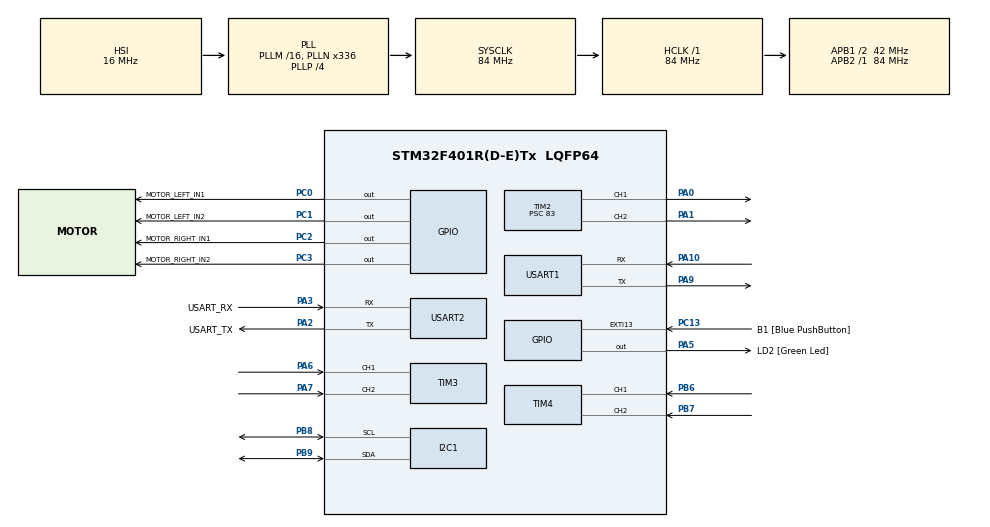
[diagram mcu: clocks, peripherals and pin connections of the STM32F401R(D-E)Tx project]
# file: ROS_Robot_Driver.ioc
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I2C1.I2C_Mode=I2C_Fast
Mcu.Family=STM32F4
Mcu.Name=STM32F401R(D-E)Tx
Mcu.Package=LQFP64
NVIC.PriorityGroup=NVIC_PRIORITYGROUP_4
NVIC.USART1_IRQn=true\:0\:0\:false\:false\:true\:true\:true\:true
PA0-WKUP.Signal=S_TIM2_CH1_ETR
PA1.Signal=S_TIM2_CH2
PA10.Mode=Asynchronous
PA10.Signal=USART1_RX
PA13.GPIO_Label=TMS
PA13.Mode=Trace_Asynchronous_SW
PA13.Signal=SYS_JTMS-SWDIO
PA14.GPIO_Label=TCK
PA14.Mode=Trace_Asynchronous_SW
PA14.Signal=SYS_JTCK-SWCLK
PA2.GPIO_Label=USART_TX
PA2.GPIO_Mode=GPIO_MODE_AF_PP
PA2.GPIO_PuPd=GPIO_NOPULL
PA2.GPIO_Speed=GPIO_SPEED_FREQ_LOW
PA2.Mode=Asynchronous
PA2.Signal=USART2_TX
PA3.GPIO_Label=USART_RX
PA3.GPIO_Mode=GPIO_MODE_AF_PP
PA3.GPIO_PuPd=GPIO_NOPULL
PA3.GPIO_Speed=GPIO_SPEED_FREQ_LOW
PA3.Mode=Asynchronous
PA3.Signal=USART2_RX
PA5.GPIO_Label=LD2 [Green Led]
PA5.GPIO_Mode=GPIO_MODE_OUTPUT_PP
PA5.GPIO_PuPd=GPIO_NOPULL
PA5.GPIO_Speed=GPIO_SPEED_FREQ_LOW
PA5.Signal=GPIO_Output
PA6.GPIO_PuPd=GPIO_PULLUP
PA6.Signal=S_TIM3_CH1
PA7.GPIO_PuPd=GPIO_PULLUP
PA7.Signal=S_TIM3_CH2
PA9.Mode=Asynchronous
PA9.Signal=USART1_TX
PB3.GPIO_Label=SWO
PB3.Mode=Trace_Asynchronous_SW
PB3.Signal=SYS_JTDO-SWO
PB6.GPIO_PuPd=GPIO_PULLUP
PB6.Signal=S_TIM4_CH1
PB7.GPIO_PuPd=GPIO_PULLUP
PB7.Signal=S_TIM4_CH2
PB8.Mode=I2C
PB8.Signal=I2C1_SCL
PB9.Mode=I2C
PB9.Signal=I2C1_SDA
PC0.GPIO_Label=MOTOR_LEFT_IN1
PC0.GPIO_ModeDefaultOutputPP=GPIO_MODE_OUTPUT_PP
PC0.Signal=GPIO_Output
PC1.GPIO_Label=MOTOR_LEFT_IN2
PC1.Signal=GPIO_Output
PC13-ANTI_TAMP.GPIO_Label=B1 [Blue PushButton]
PC13-ANTI_TAMP.GPIO_ModeDefaultEXTI=GPIO_MODE_IT_FALLING
PC13-ANTI_TAMP.GPIO_PuPd=GPIO_NOPULL
PC13-ANTI_TAMP.Signal=GPXTI13
PC14-OSC32_IN.Mode=LSE-External-Oscillator
PC14-OSC32_IN.Signal=RCC_OSC32_IN
PC15-OSC32_OUT.Mode=LSE-External-Oscillator
PC15-OSC32_OUT.Signal=RCC_OSC32_OUT
PC2.GPIO_Label=MOTOR_RIGHT_IN1
PC2.Signal=GPIO_Output
PC3.GPIO_Label=MOTOR_RIGHT_IN2
PC3.Signal=GPIO_Output
PH0\ -\ OSC_IN.Mode=HSE-External-Clock-Source
PH0\ -\ OSC_IN.Signal=RCC_OSC_IN
PH1\ -\ OSC_OUT.Mode=HSE-External-Clock-Source
PH1\ -\ OSC_OUT.Signal=RCC_OSC_OUT
ProjectManager.HeapSize=0x200
ProjectManager.StackSize=0x400
ProjectManager.TargetToolchain=Makefile
RCC.48MHZClocksFreq_Value=48000000
RCC.AHBFreq_Value=84000000
RCC.APB1CLKDivider=RCC_HCLK_DIV2
RCC.APB1Freq_Value=42000000
RCC.APB1TimFreq_Value=84000000
RCC.APB2Freq_Value=84000000
RCC.APB2TimFreq_Value=84000000
RCC.CortexFreq_Value=84000000
RCC.HCLKFreq_Value=84000000
RCC.HSE_VALUE=8000000
RCC.HSI_VALUE=16000000
RCC.PLLN=336
RCC.PLLP=RCC_PLLP_DIV4
RCC.PLLQ=7
RCC.SYSCLKFreq_VALUE=84000000
RCC.SYSCLKSource=RCC_SYSCLKSOURCE_PLLCLK
RCC.VCOOutputFreq_Value=336000000
SH.S_TIM2_CH1_ETR.0=TIM2_CH1,PWM Generation1 CH1
SH.S_TIM2_CH2.0=TIM2_CH2,PWM Generation2 CH2
SH.S_TIM3_CH1.0=TIM3_CH1,Encoder_Interface
SH.S_TIM3_CH2.0=TIM3_CH2,Encoder_Interface
SH.S_TIM4_CH1.0=TIM4_CH1,Encoder_Interface
SH.S_TIM4_CH2.0=TIM4_CH2,Encoder_Interface
TIM2.Channel-PWM\ Generation1\ CH1=TIM_CHANNEL_1
TIM2.Channel-PWM\ Generation2\ CH2=TIM_CHANNEL_2
TIM2.Period=999
TIM2.Prescaler=83
TIM3.EncoderMode=TIM_ENCODERMODE_TI12
TIM3.IC1Filter=10
TIM3.IC2Filter=10
TIM4.EncoderMode=TIM_ENCODERMODE_TI12
TIM4.IC1Filter=10
TIM4.IC2Filter=10
USART1.VirtualMode=VM_ASYNC
USART2.VirtualMode=VM_ASYNC
VP_TIM2_VS_ClockSourceINT.Mode=Internal
board=NUCLEO-F401RE

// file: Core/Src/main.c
/* USER CODE BEGIN Header */
/**
  ******************************************************************************
  * @file           : main.c
  * @brief          : Main program body
  ******************************************************************************
  * @attention
  *
  * Copyright (c) 2026 STMicroelectronics.
  * All rights reserved.
  *
  * This software is licensed under terms that can be found in the LICENSE file
  * in the root directory of this software component.
  * If no LICENSE file comes with this software, it is provided AS-IS.
  *
  ******************************************************************************
  */
/* USER CODE END Header */
#include "main.h"
#include "i2c.h"
#include "tim.h"
#include "usart.h"
#include "gpio.h"

/* USER CODE BEGIN Includes */
#include "drv_motor.h"
#include "app_packet_parser.h"
#include "drv_encoder.h"
#include "drv_mpu6050.h"
#include <stdio.h>
#if defined(MODE_MOTOR_RAW)
#include "test_motor_raw.h"
#elif defined(MODE_PID_STEP)
#include "test_pid_step.h"
#elif defined(MODE_PID_PC_TUNE)
#include "test_pid_pc_tune.h"
#elif defined(MODE_PKT_ECHO)
#include "test_pkt_echo.h"
#elif defined(MODE_HW_VERIFY)
#include "test_hw_verify.h"
#elif defined(MODE_WASD)
#include "test_wasd.h"
#endif
/* USER CODE END Includes */

void SystemClock_Config(void);

int main(void)
{

  /* MCU Configuration--------------------------------------------------------*/

  /* Reset of all peripherals, Initializes the Flash interface and the Systick. */
  HAL_Init();

  /* Configure the system clock */
  SystemClock_Config();

  /* Initialize all configured peripherals */
  MX_GPIO_Init();
  MX_TIM2_Init();
  MX_USART2_UART_Init();
  MX_TIM3_Init();
  MX_TIM4_Init();
  MX_I2C1_Init();
  MX_USART1_UART_Init();
  /* USER CODE BEGIN 2 */
  if (Motor_Init() == MOTOR_OK) {
      printf("Motor driver initialized successfully!\r\n");
  } else {
      printf("Motor driver initialization failed!\r\n");
      Error_Handler();
  }

  Protocol_Init(&huart1);
  printf("UART protocol ready. Waiting for RPi commands...\r\n");

  /* 타임아웃 표시 LED (PC7) 초기화 */
  __HAL_RCC_GPIOC_CLK_ENABLE();
  GPIO_InitTypeDef led_gpio = {0};
  led_gpio.Pin   = GPIO_PIN_7;
  led_gpio.Mode  = GPIO_MODE_OUTPUT_PP;
  led_gpio.Pull  = GPIO_NOPULL;
  led_gpio.Speed = GPIO_SPEED_FREQ_LOW;
  HAL_GPIO_Init(GPIOC, &led_gpio);
  HAL_GPIO_WritePin(GPIOC, GPIO_PIN_7, GPIO_PIN_RESET);

  Encoder_Init();
  printf("Encoder started (TIM3=Left, TIM4=Right)\r\n");

  if (MPU6050_Init() == HAL_OK) {
      printf("MPU6050 initialized!\r\n");
  } else {
      printf("MPU6050 init failed! Check wiring.\r\n");
  }

  /* 테스트 모드 초기화 */
#if defined(MODE_MOTOR_RAW)
  Test_MotorRaw_Init(200);
#elif defined(MODE_PID_STEP)
  Test_PID_Step_Init(200);
#elif defined(MODE_PID_PC_TUNE)
  Test_PID_PcTune_Init(300);
#elif defined(MODE_PKT_ECHO)
  Test_PktEcho_Init();
#elif defined(MODE_HW_VERIFY)
  Test_HwVerify_Init();
#elif defined(MODE_WASD)
  Test_Wasd_Init();
#endif

  /* USER CODE END 2 */

  /* Infinite loop */
  while (1)
  {

    /* USER CODE BEGIN 3 */
#if defined(MODE_MOTOR_RAW)
    Test_MotorRaw_Loop();

#elif defined(MODE_PID_STEP)
    Test_PID_Step_Loop();

#elif defined(MODE_PID_PC_TUNE)
    Test_PID_PcTune_Loop();

#elif defined(MODE_PKT_ECHO)
    Test_PktEcho_Loop();

#elif defined(MODE_HW_VERIFY)
    Test_HwVerify_Loop();

#elif defined(MODE_WASD)
    Test_Wasd_Loop();

#else   /* 기본값 = 운영 모드 */
    if (Protocol_Process()) {
        HAL_GPIO_WritePin(GPIOC, GPIO_PIN_7, GPIO_PIN_RESET);
    }
    if (Motor_CheckTimeout()) {
        HAL_GPIO_WritePin(GPIOC, GPIO_PIN_7, GPIO_PIN_SET);
    }

    uint32_t now = HAL_GetTick();

    /* PID 속도 제어 루프 — 10ms 주기 */
    static uint32_t last_pid   = 0;
    static float    last_spd_L = 0.0f;
    static float    last_spd_R = 0.0f;
    if (now - last_pid >= 10) {
        last_pid   = now;
        last_spd_L = Encoder_GetSpeed(ENCODER_LEFT);
        last_spd_R = Encoder_GetSpeed(ENCODER_RIGHT);
        Motor_PID_Update(last_spd_L, last_spd_R);
    }

    /* 오도메트리 + IMU → RPi 전송 (20ms 주기) */
    static uint32_t last_send   = 0;
    static int16_t  prev_odom_L = 0;
    static int16_t  prev_odom_R = 0;
    if (now - last_send >= 20) {
        last_send = now;

        int16_t cur_L = Encoder_GetCount(ENCODER_LEFT);
        int16_t cur_R = Encoder_GetCount(ENCODER_RIGHT);
        Protocol_SendOdom(cur_L - prev_odom_L,
                          cur_R - prev_odom_R);
        prev_odom_L = cur_L;
        prev_odom_R = cur_R;

        MPU6050_Data_t imu;
        if (MPU6050_ReadAll(&imu) == HAL_OK) {
            Protocol_SendIMU(&imu);
        }
    }

    /* 진단 출력 (UART2, 200ms 주기) */
    static uint32_t last_print = 0;
    if (now - last_print >= 500) {
        last_print = now;
        const ProtoStats_t *st = Protocol_GetStats();
        printf("[DIAG] rx_pkt:%lu err:%lu  spd L:%.1f R:%.1f mm/s  enc L:%d R:%d\r\n",
               st->rx_packets, Protocol_GetErrorCount(),
               last_spd_L, last_spd_R,
               Encoder_GetCount(ENCODER_LEFT),
               Encoder_GetCount(ENCODER_RIGHT));
    }
#endif /* MODE */

  }
  /* USER CODE END 3 */
}

void SystemClock_Config(void)
{
  RCC_OscInitTypeDef RCC_OscInitStruct = {0};
  RCC_ClkInitTypeDef RCC_ClkInitStruct = {0};

  /** Configure the main internal regulator output voltage
  */
  __HAL_RCC_PWR_CLK_ENABLE();
  __HAL_PWR_VOLTAGESCALING_CONFIG(PWR_REGULATOR_VOLTAGE_SCALE2);

  /** Initializes the RCC Oscillators according to the specified parameters
  * in the RCC_OscInitTypeDef structure.
  */
  RCC_OscInitStruct.OscillatorType = RCC_OSCILLATORTYPE_HSI;
  RCC_OscInitStruct.HSIState = RCC_HSI_ON;
  RCC_OscInitStruct.HSICalibrationValue = RCC_HSICALIBRATION_DEFAULT;
  RCC_OscInitStruct.PLL.PLLState = RCC_PLL_ON;
  RCC_OscInitStruct.PLL.PLLSource = RCC_PLLSOURCE_HSI;
  RCC_OscInitStruct.PLL.PLLM = 16;
  RCC_OscInitStruct.PLL.PLLN = 336;
  RCC_OscInitStruct.PLL.PLLP = RCC_PLLP_DIV4;
  RCC_OscInitStruct.PLL.PLLQ = 7;
  if (HAL_RCC_OscConfig(&RCC_OscInitStruct) != HAL_OK)
  {
    Error_Handler();
  }

  /** Initializes the CPU, AHB and APB buses clocks
  */
  RCC_ClkInitStruct.ClockType = RCC_CLOCKTYPE_HCLK|RCC_CLOCKTYPE_SYSCLK
                              |RCC_CLOCKTYPE_PCLK1|RCC_CLOCKTYPE_PCLK2;
  RCC_ClkInitStruct.SYSCLKSource = RCC_SYSCLKSOURCE_PLLCLK;
  RCC_ClkInitStruct.AHBCLKDivider = RCC_SYSCLK_DIV1;
  RCC_ClkInitStruct.APB1CLKDivider = RCC_HCLK_DIV2;
  RCC_ClkInitStruct.APB2CLKDivider = RCC_HCLK_DIV1;

  if (HAL_RCC_ClockConfig(&RCC_ClkInitStruct, FLASH_LATENCY_2) != HAL_OK)
  {
    Error_Handler();
  }
}

void Error_Handler(void)
{
  __disable_irq();
  while (1)
  {
  }
}
